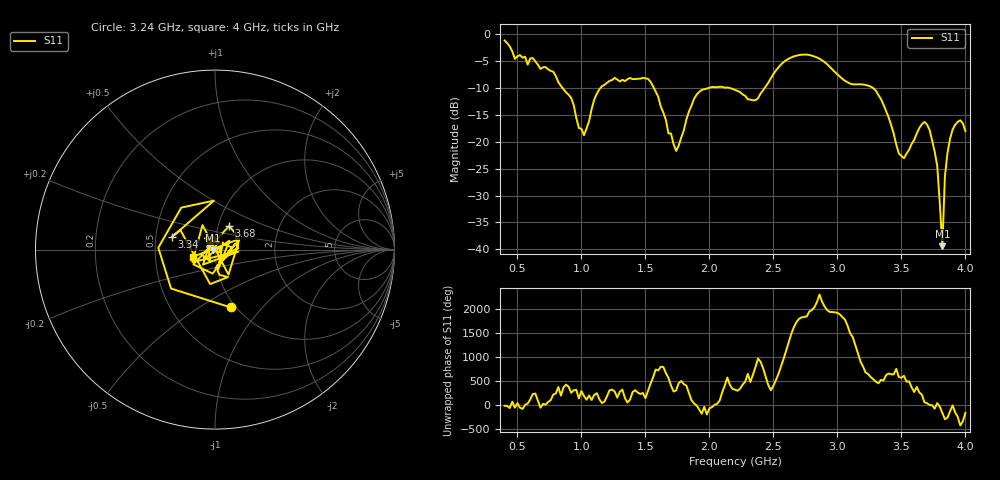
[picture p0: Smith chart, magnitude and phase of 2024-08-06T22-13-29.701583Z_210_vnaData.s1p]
!Created with skrf (http://scikit-rf.org).
# Hz S RI R 50.0
!freq ReS11 ImS11
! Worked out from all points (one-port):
!   181 points, 400 MHz to 4 GHz, reference 50 ohm
!   lowest |S11| = -39.4 dB at 3.82 GHz (marker M1), VSWR 1.02, Z = 49 - j0.334 ohm
!   |S11| at or under -10 dB: 853.2 MHz to 1.148 GHz (294.5 MHz wide, 29.4 % of centre); 1.567 GHz to 1.991 GHz (423.9 MHz wide, 23.8 % of centre); 3.28 GHz to end of sweep (the widest 3 of 4)
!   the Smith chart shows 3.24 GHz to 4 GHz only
!   S11 on the Smith chart (normalised r, x): 3.24 GHz: 0.95, -0.69; 3.34 GHz: 0.61, +0.09; 3.68 GHz: 1.13, +0.30; 4 GHz: 0.78, -0.06
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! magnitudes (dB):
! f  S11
! 400 MHz  -1.1
! 480 MHz  -4.6
! 620 MHz  -4.4
! 860 MHz  -10.2
! 1.02 GHz  -18.8
! 1.14 GHz  -10.2
! 1.3 GHz  -8.8
! 1.52 GHz  -8.3
! 1.74 GHz  -21.7
! 1.76 GHz  -20.7
! 1.92 GHz  -10.7
! 2.2 GHz  -10.3
! 2.36 GHz  -12.2
! 2.66 GHz  -4.1
! 2.84 GHz  -4.3
! 3.1 GHz  -9.2
! 3.24 GHz  -9.5
! 3.34 GHz  -12.0
! 3.48 GHz  -22.2
! 3.56 GHz  -21.5
! 3.68 GHz  -16.3
! 3.72 GHz  -17.8
! 3.78 GHz  -24.5
! 3.82 GHz  -39.4
! 3.84 GHz  -26.4
! 3.88 GHz  -19.4
! 3.96 GHz  -16.0
! 4 GHz  -18.0
